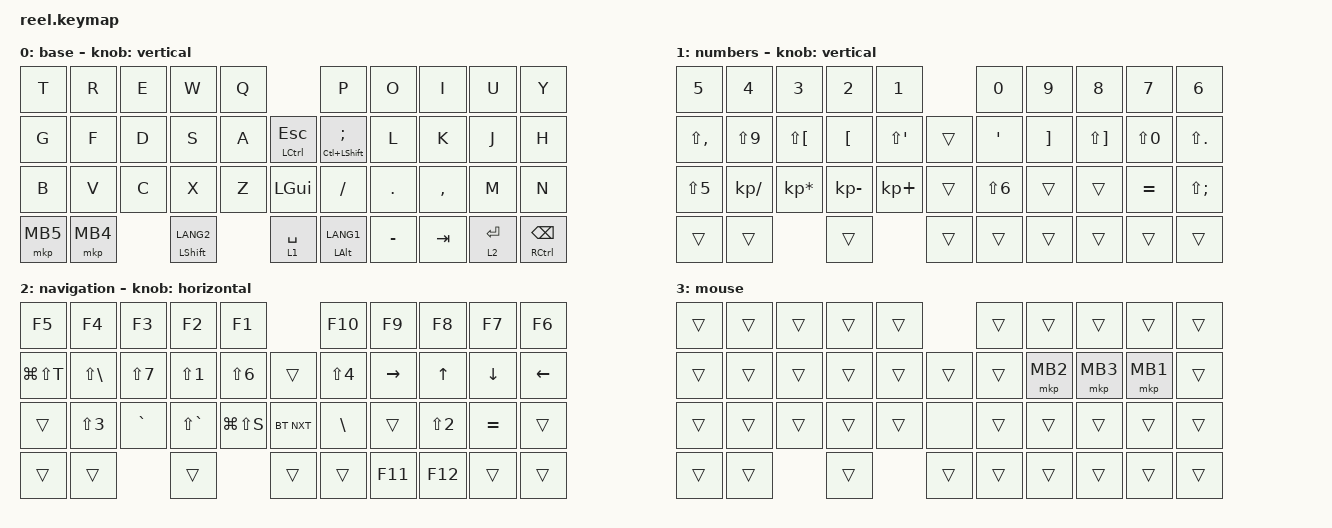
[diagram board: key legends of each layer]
#include <behaviors.dtsi>
#include <dt-bindings/zmk/keys.h>
#include <dt-bindings/zmk/bt.h>
#include <dt-bindings/zmk/pointing.h>

&mt { flavor = "hold-preferred"; tapping-term-ms = <220>; quick-tap-ms = <200>; };
&lt { flavor = "balanced"; tapping-term-ms = <220>; };

// One 20 ms tick per encoder tap, i.e. one wheel unit per detent.
&msc { trigger-period-ms = <20>; };

/ {
    behaviors {
        wheel_up: wheel_up {
            compatible = "zmk,behavior-mod-morph";
            #binding-cells = <0>;
            bindings = <&msc MOVE_Y(50)>, <&kp C_VOL_UP>;
            mods = <(MOD_LGUI)>;
            keep-mods = <(MOD_LGUI)>;
        };
        wheel_down: wheel_down {
            compatible = "zmk,behavior-mod-morph";
            #binding-cells = <0>;
            bindings = <&msc MOVE_Y(-50)>, <&kp C_VOL_DN>;
            mods = <(MOD_LGUI)>;
            keep-mods = <(MOD_LGUI)>;
        };
        vertical: vertical_wheel {
            compatible = "zmk,behavior-sensor-rotate";
            #sensor-binding-cells = <0>;
            bindings = <&wheel_up>, <&wheel_down>;
            tap-ms = <30>;
        };
        horizontal: horizontal_wheel {
            compatible = "zmk,behavior-sensor-rotate";
            #sensor-binding-cells = <0>;
            bindings = <&msc MOVE_X(50)>, <&msc MOVE_X(-50)>;
            tap-ms = <30>;
        };
    };

    keymap {
        compatible = "zmk,keymap";
        base {
            bindings = <
                &kp T &kp R &kp E &kp W &kp Q                       &kp P &kp O &kp I &kp U &kp Y
                &kp G &kp F &kp D &kp S &kp A &mt LCTRL ESC         &mt LC(LSHIFT) SEMICOLON &kp L &kp K &kp J &kp H
                &kp B &kp V &kp C &kp X &kp Z &kp LGUI              &kp SLASH &kp DOT &kp COMMA &kp M &kp N
                &mkp MB5 &mkp MB4 &mt LSHIFT LANG2 &lt 1 SPACE &mt LALT LANG1    &kp MINUS &kp TAB &lt 2 ENTER &mt RCTRL BSPC
            >;
            sensor-bindings = <&vertical>;
        };
        numbers {
            bindings = <
                &kp N5 &kp N4 &kp N3 &kp N2 &kp N1                   &kp N0 &kp N9 &kp N8 &kp N7 &kp N6
                &kp LS(COMMA) &kp LS(N9) &kp LS(LBKT) &kp LBKT &kp LS(SQT) &trans   &kp SQT &kp RBKT &kp LS(RBKT) &kp LS(N0) &kp LS(DOT)
                &kp LS(N5) &kp KP_DIVIDE &kp KP_MULTIPLY &kp KP_MINUS &kp KP_PLUS &trans   &kp LS(N6) &trans &trans &kp EQUAL &kp LS(SEMICOLON)
                &trans &trans &trans &trans &trans                    &trans &trans &trans &trans
            >;
            sensor-bindings = <&vertical>;
        };
        navigation {
            bindings = <
                &kp F5 &kp F4 &kp F3 &kp F2 &kp F1                    &kp F10 &kp F9 &kp F8 &kp F7 &kp F6
                &kp LG(LS(T)) &kp LS(BACKSLASH) &kp LS(N7) &kp LS(N1) &kp LS(N6) &trans   &kp LS(N4) &kp RIGHT &kp UP &kp DOWN &kp LEFT
                &trans &kp LS(N3) &kp GRAVE &kp LS(GRAVE) &kp LG(LS(S)) &bt BT_NXT   &kp BACKSLASH &trans &kp LS(N2) &kp EQUAL &trans
                &trans &trans &trans &trans &trans                     &kp F11 &kp F12 &trans &trans
            >;
            sensor-bindings = <&horizontal>;
        };
        mouse {
            bindings = <
                &trans &trans &trans &trans &trans                    &trans &trans &trans &trans &trans
                &trans &trans &trans &trans &trans &trans             &trans &mkp MB2 &mkp MB3 &mkp MB1 &trans
                &trans &trans &trans &trans &trans &none              &trans &trans &trans &trans &trans
                &trans &trans &trans &trans &trans                    &trans &trans &trans &trans
            >;
            // No sensor binding: inherit the highest active lower layer.
        };
    };
};
